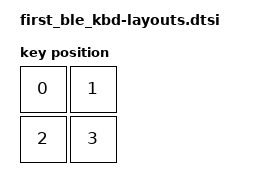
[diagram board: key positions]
#include <physical_layouts.dtsi>

/ {
    macropad_layout: macropad_layout {
        compatible = "zmk,physical-layout";
        display-name = "Default";

        kscan = <&kscan0>;
        transform = <&macropad_transform>;

        keys  //                     w   h    x    y     rot    rx    ry
            = <&key_physical_attrs 100 100    0    0       0     0     0>
            , <&key_physical_attrs 100 100  100    0       0     0     0>
            , <&key_physical_attrs 100 100    0  100       0     0     0>
            , <&key_physical_attrs 100 100  100  100       0     0     0>
            ;
    };
};
